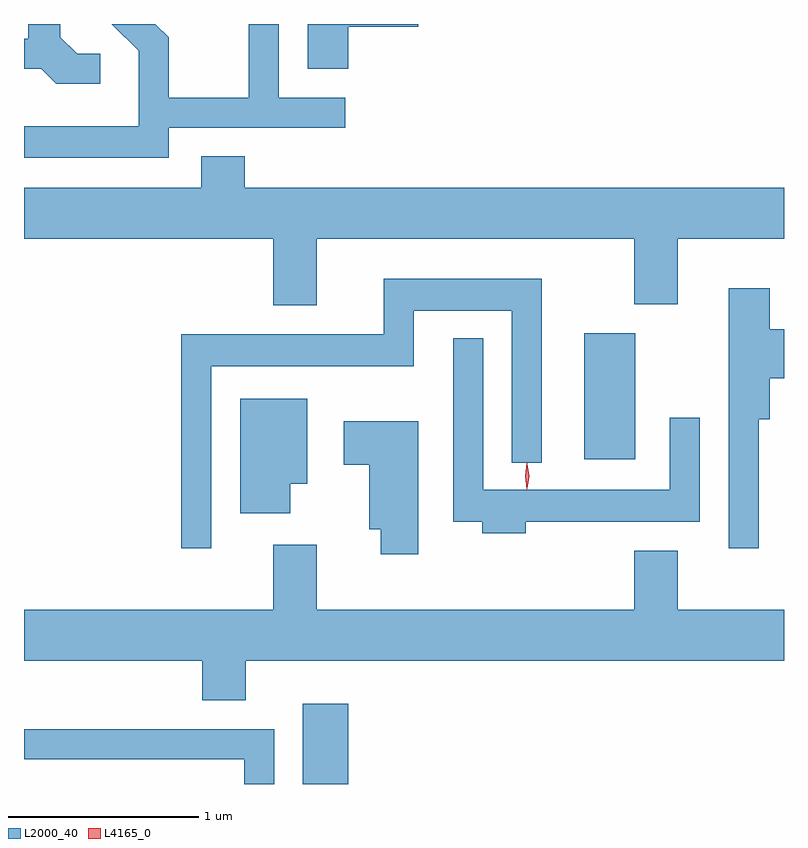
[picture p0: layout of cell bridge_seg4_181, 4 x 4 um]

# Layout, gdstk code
import gdstk
lib = gdstk.Library(unit=1e-6, precision=1e-09)
def R(c, l, rs):  # rectangles x0, y0, x1, y1
    for r in rs: c.add(gdstk.rectangle(r[:2], r[2:], *l))
def P(c, l, *ps):  # polygons
    for p in ps: c.add(gdstk.Polygon(p, *l))
L2000_40 = (2000, 40)
L4165_0 = (4165, 0)

bridge_seg4_181 = lib.new_cell('bridge_seg4_181')
R(bridge_seg4_181, L2000_40, [(1061.446,1294.086,1061.684,1294.509), (1062.926,1295.796,1063.194,1296.459)])
P(bridge_seg4_181, L2000_40, [(1060.739,1297.541),(1061.668,1297.541),(1061.668,1297.699),(1061.319,1297.699),(1061.319,1298.086),(1061.161,1298.086),(1061.161,1297.699),(1060.739,1297.699),(1060.739,1298.017),(1060.67,1298.086),(1060.439,1298.086),(1060.581,1297.944),(1060.581,1297.549),(1059.978,1297.549),(1059.978,1297.381),(1060.739,1297.381)],
  [(1061.684,1298.071),(1062.054,1298.071),(1062.054,1298.086),(1061.471,1298.086),(1061.471,1297.851),(1061.684,1297.851)],
  [(1060.378,1297.929),(1060.257,1297.929),(1060.169,1298.017),(1060.169,1298.086),(1060.001,1298.086),(1060.001,1298.009),(1059.978,1298.009),(1059.978,1297.851),(1060.069,1297.851),(1060.149,1297.771),(1060.378,1297.771)],
  [(1061.519,1296.956),(1063.191,1296.956),(1063.191,1296.611),(1063.419,1296.611),(1063.419,1296.956),(1063.978,1296.956),(1063.978,1297.224),(1061.139,1297.224),(1061.139,1297.389),(1060.911,1297.389),(1060.911,1297.224),(1059.978,1297.224),(1059.978,1296.956),(1061.291,1296.956),(1061.291,1296.606),(1061.519,1296.606)],
  [(1060.964,1296.286),(1062.029,1296.286),(1062.029,1296.576),(1062.546,1296.576),(1062.546,1295.778),(1062.704,1295.778),(1062.704,1296.744),(1061.871,1296.744),(1061.871,1296.454),(1060.806,1296.454),(1060.806,1295.328),(1060.964,1295.328)],
  [(1063.844,1296.006),(1063.904,1296.006),(1063.904,1296.221),(1063.978,1296.221),(1063.978,1296.479),(1063.904,1296.479),(1063.904,1296.694),(1063.686,1296.694),(1063.686,1295.328),(1063.844,1295.328)],
  [(1062.619,1295.466),(1063.534,1295.466),(1063.534,1296.013),(1063.376,1296.013),(1063.376,1295.634),(1062.394,1295.634),(1062.394,1296.433),(1062.236,1296.433),(1062.236,1295.466),(1062.391,1295.466),(1062.391,1295.406),(1062.619,1295.406)],
  [(1061.379,1295.666),(1061.469,1295.666),(1061.469,1296.114),(1061.116,1296.114),(1061.116,1295.511),(1061.379,1295.511)],
  [(1062.054,1295.994),(1061.661,1295.994),(1061.661,1295.766),(1061.796,1295.766),(1061.796,1295.426),(1061.856,1295.426),(1061.856,1295.296),(1062.054,1295.296)],
  [(1061.144,1294.736),(1063.978,1294.736),(1063.978,1295.004),(1063.419,1295.004),(1063.419,1295.314),(1063.191,1295.314),(1063.191,1295.004),(1061.519,1295.004),(1061.519,1295.344),(1061.291,1295.344),(1061.291,1295.004),(1059.978,1295.004),(1059.978,1294.736),(1060.916,1294.736),(1060.916,1294.526),(1061.144,1294.526)],
  [(1061.294,1294.374),(1059.978,1294.374),(1059.978,1294.216),(1061.136,1294.216),(1061.136,1294.086),(1061.294,1294.086)])
P(bridge_seg4_181, L4165_0, [(1062.626,1295.639),(1062.625,1295.64),(1062.616,1295.706),(1062.625,1295.772),(1062.626,1295.773),(1062.626,1295.772),(1062.636,1295.706),(1062.626,1295.64)],
  [(1062.625,1295.637),(1062.624,1295.638),(1062.615,1295.707),(1062.624,1295.776),(1062.625,1295.776),(1062.625,1295.776),(1062.635,1295.707),(1062.625,1295.638)])

lib.write_gds('bridge_seg4_181.gds')
